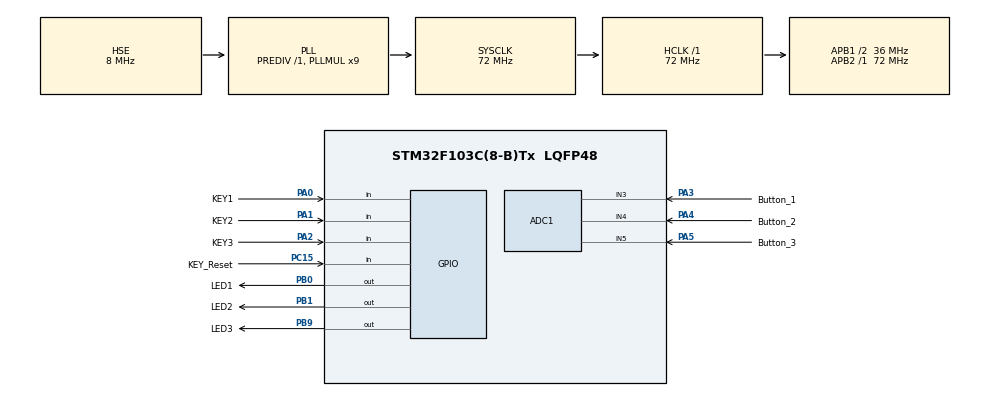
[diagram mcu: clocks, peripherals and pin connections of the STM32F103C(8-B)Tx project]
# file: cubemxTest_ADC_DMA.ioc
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ADC1.Channel-2\#ChannelRegularConversion=ADC_CHANNEL_3
ADC1.Channel-3\#ChannelRegularConversion=ADC_CHANNEL_4
ADC1.Channel-4\#ChannelRegularConversion=ADC_CHANNEL_5
ADC1.ContinuousConvMode=ENABLE
ADC1.InjNumberOfConversion=0
ADC1.NbrOfConversion=3
ADC1.NbrOfConversionFlag=1
ADC1.Rank-2\#ChannelRegularConversion=1
ADC1.Rank-3\#ChannelRegularConversion=2
ADC1.Rank-4\#ChannelRegularConversion=3
ADC1.SamplingTime-2\#ChannelRegularConversion=ADC_SAMPLETIME_28CYCLES_5
ADC1.SamplingTime-3\#ChannelRegularConversion=ADC_SAMPLETIME_28CYCLES_5
ADC1.SamplingTime-4\#ChannelRegularConversion=ADC_SAMPLETIME_28CYCLES_5
ADC1.master=1
Dma.ADC1.0.Direction=DMA_PERIPH_TO_MEMORY
Dma.ADC1.0.Instance=DMA1_Channel1
Dma.ADC1.0.MemDataAlignment=DMA_MDATAALIGN_HALFWORD
Dma.ADC1.0.MemInc=DMA_MINC_ENABLE
Dma.ADC1.0.Mode=DMA_CIRCULAR
Dma.ADC1.0.PeriphDataAlignment=DMA_PDATAALIGN_HALFWORD
Dma.ADC1.0.PeriphInc=DMA_PINC_DISABLE
Dma.ADC1.0.Priority=DMA_PRIORITY_HIGH
Dma.Request0=ADC1
Mcu.Family=STM32F1
Mcu.Name=STM32F103C(8-B)Tx
Mcu.Package=LQFP48
NVIC.ADC1_2_IRQn=true\:0\:0\:false\:false\:true\:true\:true
NVIC.DMA1_Channel1_IRQn=true\:0\:0\:false\:false\:true\:false\:true
NVIC.PriorityGroup=NVIC_PRIORITYGROUP_4
PA0-WKUP.GPIO_Label=KEY1
PA0-WKUP.GPIO_PuPd=GPIO_PULLUP
PA0-WKUP.Signal=GPIO_Input
PA1.GPIO_Label=KEY2
PA1.GPIO_PuPd=GPIO_PULLUP
PA1.Signal=GPIO_Input
PA13.Mode=Serial_Wire
PA13.Signal=SYS_JTMS-SWDIO
PA14.Mode=Serial_Wire
PA14.Signal=SYS_JTCK-SWCLK
PA2.GPIO_Label=KEY3
PA2.GPIO_PuPd=GPIO_PULLUP
PA2.Signal=GPIO_Input
PA3.GPIO_Label=Button_1
PA3.Signal=ADCx_IN3
PA4.GPIO_Label=Button_2
PA4.Signal=ADCx_IN4
PA5.GPIO_Label=Button_3
PA5.Signal=ADCx_IN5
PB0.GPIO_Label=LED1
PB0.PinState=GPIO_PIN_SET
PB0.Signal=GPIO_Output
PB1.GPIO_Label=LED2
PB1.PinState=GPIO_PIN_SET
PB1.Signal=GPIO_Output
PB9.GPIO_Label=LED3
PB9.PinState=GPIO_PIN_SET
PB9.Signal=GPIO_Output
PC15-OSC32_OUT.GPIO_Label=KEY_Reset
PC15-OSC32_OUT.GPIO_PuPd=GPIO_PULLUP
PC15-OSC32_OUT.Signal=GPIO_Input
PD0-OSC_IN.Mode=HSE-External-Oscillator
PD0-OSC_IN.Signal=RCC_OSC_IN
PD1-OSC_OUT.Mode=HSE-External-Oscillator
PD1-OSC_OUT.Signal=RCC_OSC_OUT
ProjectManager.HeapSize=0x200
ProjectManager.StackSize=0x400
ProjectManager.TargetToolchain=Makefile
RCC.ADCPresc=RCC_ADCPCLK2_DIV6
RCC.AHBFreq_Value=72000000
RCC.APB1CLKDivider=RCC_HCLK_DIV2
RCC.APB1Freq_Value=36000000
RCC.APB1TimFreq_Value=72000000
RCC.APB2Freq_Value=72000000
RCC.APB2TimFreq_Value=72000000
RCC.HCLKFreq_Value=72000000
RCC.PLLMUL=RCC_PLL_MUL9
RCC.PLLSourceVirtual=RCC_PLLSOURCE_HSE
RCC.SYSCLKFreq_VALUE=72000000
RCC.SYSCLKSource=RCC_SYSCLKSOURCE_PLLCLK
RCC.USBFreq_Value=72000000
SH.ADCx_IN3.0=ADC1_IN3,IN3
SH.ADCx_IN4.0=ADC1_IN4,IN4
SH.ADCx_IN5.0=ADC1_IN5,IN5
board=custom

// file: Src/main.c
/* USER CODE BEGIN Header */
/**
  ******************************************************************************
  * @file           : main.c
  * @brief          : Main program body
  ******************************************************************************
  * @attention
  *
  * <h2><center>&copy; Copyright (c) 2019 STMicroelectronics.
  * All rights reserved.</center></h2>
  *
  * This software component is licensed by ST under BSD 3-Clause license,
  * the "License"; You may not use this file except in compliance with the
  * License. You may obtain a copy of the License at:
  *                        opensource.org/licenses/BSD-3-Clause
  *
  ******************************************************************************
  */
/* USER CODE END Header */

#include "main.h"
#include "adc.h"
#include "dma.h"
#include "gpio.h"
#include <math.h>

/* USER CODE BEGIN PM */
#define MAX_Delta (15.0/100.0)      //The max difference is 15%.
/* USER CODE END PM */

/* USER CODE BEGIN PV */
uint32_t ADC_Value[120];
uint32_t Pressure_1,Pressure_2,Pressure_3;
double delta_1,delta_2,delta_3;
uint8_t i;

/* USER CODE END PV */

void SystemClock_Config(void);
/* USER CODE BEGIN PFP */
void LEDSwitchOn(GPIO_TypeDef* LedPort, uint16_t LedPin);
void LEDSwitchOff(GPIO_TypeDef* LedPort, uint16_t LedPin);
void LED_KEY_SwitchOn(GPIO_TypeDef* KeyPort, uint16_t KeyPin,GPIO_TypeDef* LedPort, uint16_t LedPin);

int pressButton(int press_1,int press_2,int press_3);

int maxValue(int a,int b,int c);
int max2v(int a,int b);
double calDelta(double a,double b,double c);
/* USER CODE END PFP */

int main(void)
{
  /* MCU Configuration--------------------------------------------------------*/
  /* Reset of all peripherals, Initializes the Flash interface and the Systick. */
  HAL_Init();
  /* Configure the system clock */
  SystemClock_Config();
  /* Initialize all configured peripherals */
  MX_GPIO_Init();
  MX_DMA_Init();
  MX_ADC1_Init();

  /* USER CODE BEGIN 2 */
  HAL_ADC_Start_DMA(&hadc1,(uint32_t*)&ADC_Value,120);
  HAL_GPIO_WritePin(LED1_GPIO_Port,LED1_Pin,0);
  HAL_GPIO_WritePin(LED2_GPIO_Port,LED2_Pin,0);
  HAL_GPIO_WritePin(LED3_GPIO_Port,LED3_Pin,0);
  /* USER CODE END 2 */

  /* Infinite loop */
  while (1)
  {
    HAL_Delay(500);
    Pressure_1=Pressure_2=Pressure_3=0;

    for(i=0;i<100;){
      Pressure_1+=ADC_Value[i++];
      Pressure_2+=ADC_Value[i++];
      Pressure_3+=ADC_Value[i++];
    }
    Pressure_1/=40;               //Calculate the average amount.
    Pressure_2/=40;
    Pressure_3/=40;

    if(pressButton(Pressure_1,Pressure_2,Pressure_3)==1){
      LEDSwitchOn(LED1_GPIO_Port,LED1_Pin);

      LEDSwitchOff(LED2_GPIO_Port,LED2_Pin);
      LEDSwitchOff(LED3_GPIO_Port,LED3_Pin);
    }

    if(pressButton(Pressure_1,Pressure_2,Pressure_3)==2){
      LEDSwitchOn(LED2_GPIO_Port,LED2_Pin);

      LEDSwitchOff(LED1_GPIO_Port,LED1_Pin);
      LEDSwitchOff(LED3_GPIO_Port,LED3_Pin);
    }

    if(pressButton(Pressure_1,Pressure_2,Pressure_3)==3){
      LEDSwitchOn(LED3_GPIO_Port,LED3_Pin);

      LEDSwitchOff(LED1_GPIO_Port,LED1_Pin);
      LEDSwitchOff(LED2_GPIO_Port,LED2_Pin);
    }

    if(pressButton(Pressure_1,Pressure_2,Pressure_3)==0){
      LEDSwitchOn(LED1_GPIO_Port,LED1_Pin);
      LEDSwitchOn(LED2_GPIO_Port,LED2_Pin);
      LEDSwitchOn(LED3_GPIO_Port,LED3_Pin);
    }
  }
}

/* USER CODE BEGIN 4 */
int pressButton(int press_1,int press_2,int press_3)
{
  int maxv=maxValue(press_1,press_2,press_3);

  if(maxv==press_1){
    double err=calDelta(press_1,press_2,press_3);
    if(err>=MAX_Delta)return 1;
  }

  if(maxv==press_2){
    double err=calDelta(press_2,press_1,press_3);
    if(err>=MAX_Delta)return 2;
  }

  if(maxv==press_3){
    double err=calDelta(press_3,press_1,press_2);
    if(err>=MAX_Delta)return 3;
  }
  return 0;
}

int maxValue(int a,int b,int c) //Calculate the biggest number among 3 of them.
{
  if(a>=max2v(b,c))return a;
  if(b>=max2v(a,c))return b;
  return c;
}

int max2v(int a,int b)          //Compare 2 numbers.
{
  if(a>=b)return a;
  else return b;
}

double calDelta(double a,double b,double c)
{
  double averageDelta=(fabs(a-b)+fabs(a-c))/2.0;
  double result=averageDelta/((b+c)/2.0);
  return result;
};

void LED_KEY_SwitchOn(GPIO_TypeDef* KeyPort, uint16_t KeyPin,GPIO_TypeDef* LedPort, uint16_t LedPin)
{
  if(!HAL_GPIO_ReadPin(KeyPort,KeyPin)){
    HAL_Delay(20);            //延时去抖动
    if(!HAL_GPIO_ReadPin(KeyPort,KeyPin)){
        HAL_GPIO_WritePin(LedPort,LedPin,1);
        while(HAL_GPIO_ReadPin(KeyPort,KeyPin));
    }
  }
}

void LEDSwitchOn(GPIO_TypeDef* LedPort, uint16_t LedPin)
{
  HAL_GPIO_WritePin(LedPort,LedPin,1);
}

void LEDSwitchOff(GPIO_TypeDef* LedPort, uint16_t LedPin)
{
  HAL_GPIO_WritePin(LedPort,LedPin,0);
}
/* USER CODE END 4 */

/********************************************Auto Generated*******************************************/

void SystemClock_Config(void)
{
  RCC_OscInitTypeDef RCC_OscInitStruct = {0};
  RCC_ClkInitTypeDef RCC_ClkInitStruct = {0};
  RCC_PeriphCLKInitTypeDef PeriphClkInit = {0};

  /** Initializes the CPU, AHB and APB busses clocks
  */
  RCC_OscInitStruct.OscillatorType = RCC_OSCILLATORTYPE_HSE;
  RCC_OscInitStruct.HSEState = RCC_HSE_ON;
  RCC_OscInitStruct.HSEPredivValue = RCC_HSE_PREDIV_DIV1;
  RCC_OscInitStruct.HSIState = RCC_HSI_ON;
  RCC_OscInitStruct.PLL.PLLState = RCC_PLL_ON;
  RCC_OscInitStruct.PLL.PLLSource = RCC_PLLSOURCE_HSE;
  RCC_OscInitStruct.PLL.PLLMUL = RCC_PLL_MUL9;
  if (HAL_RCC_OscConfig(&RCC_OscInitStruct) != HAL_OK)
  {
    Error_Handler();
  }
  /** Initializes the CPU, AHB and APB busses clocks
  */
  RCC_ClkInitStruct.ClockType = RCC_CLOCKTYPE_HCLK|RCC_CLOCKTYPE_SYSCLK
                              |RCC_CLOCKTYPE_PCLK1|RCC_CLOCKTYPE_PCLK2;
  RCC_ClkInitStruct.SYSCLKSource = RCC_SYSCLKSOURCE_PLLCLK;
  RCC_ClkInitStruct.AHBCLKDivider = RCC_SYSCLK_DIV1;
  RCC_ClkInitStruct.APB1CLKDivider = RCC_HCLK_DIV2;
  RCC_ClkInitStruct.APB2CLKDivider = RCC_HCLK_DIV1;

  if (HAL_RCC_ClockConfig(&RCC_ClkInitStruct, FLASH_LATENCY_2) != HAL_OK)
  {
    Error_Handler();
  }
  PeriphClkInit.PeriphClockSelection = RCC_PERIPHCLK_ADC;
  PeriphClkInit.AdcClockSelection = RCC_ADCPCLK2_DIV6;
  if (HAL_RCCEx_PeriphCLKConfig(&PeriphClkInit) != HAL_OK)
  {
    Error_Handler();
  }
}

void Error_Handler(void)
{
}

/************************ (C) COPYRIGHT STMicroelectronics *****END OF FILE****/
